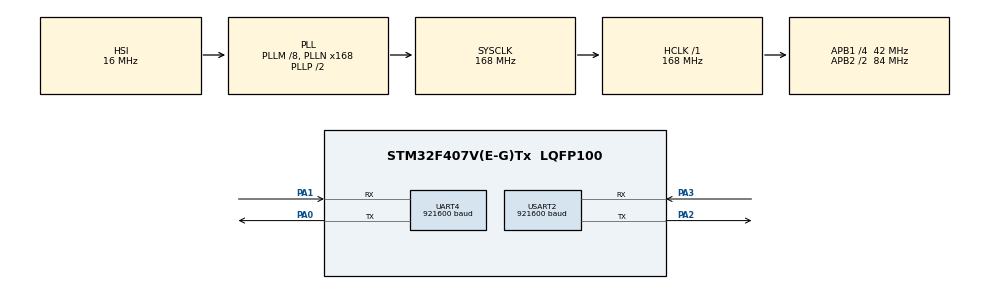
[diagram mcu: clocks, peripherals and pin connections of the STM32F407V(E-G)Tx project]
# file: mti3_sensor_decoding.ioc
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Dma.Request0=USART2_RX
Dma.USART2_RX.0.Direction=DMA_PERIPH_TO_MEMORY
Dma.USART2_RX.0.FIFOMode=DMA_FIFOMODE_DISABLE
Dma.USART2_RX.0.Instance=DMA1_Stream5
Dma.USART2_RX.0.MemDataAlignment=DMA_MDATAALIGN_BYTE
Dma.USART2_RX.0.MemInc=DMA_MINC_ENABLE
Dma.USART2_RX.0.Mode=DMA_CIRCULAR
Dma.USART2_RX.0.PeriphDataAlignment=DMA_PDATAALIGN_BYTE
Dma.USART2_RX.0.PeriphInc=DMA_PINC_DISABLE
Dma.USART2_RX.0.Priority=DMA_PRIORITY_LOW
Mcu.Family=STM32F4
Mcu.Name=STM32F407V(E-G)Tx
Mcu.Package=LQFP100
NVIC.DMA1_Stream5_IRQn=true\:0\:0\:false\:false\:true\:false\:true
NVIC.PriorityGroup=NVIC_PRIORITYGROUP_4
NVIC.TIM6_DAC_IRQn=true\:0\:0\:false\:false\:true\:true\:true
NVIC.TIM7_IRQn=true\:0\:0\:false\:false\:true\:true\:true
NVIC.UART4_IRQn=true\:0\:0\:false\:false\:true\:true\:true
PA0-WKUP.Mode=Asynchronous
PA0-WKUP.Signal=UART4_TX
PA1.Mode=Asynchronous
PA1.Signal=UART4_RX
PA13.Mode=Serial_Wire
PA13.Signal=SYS_JTMS-SWDIO
PA14.Mode=Serial_Wire
PA14.Signal=SYS_JTCK-SWCLK
PA2.Mode=Asynchronous
PA2.Signal=USART2_TX
PA3.Mode=Asynchronous
PA3.Signal=USART2_RX
PH0-OSC_IN.Mode=HSE-External-Oscillator
PH0-OSC_IN.Signal=RCC_OSC_IN
PH1-OSC_OUT.Mode=HSE-External-Oscillator
PH1-OSC_OUT.Signal=RCC_OSC_OUT
ProjectManager.HeapSize=0x200
ProjectManager.StackSize=0x400
ProjectManager.TargetToolchain=TrueSTUDIO
RCC.48MHZClocksFreq_Value=84000000
RCC.AHBFreq_Value=168000000
RCC.APB1CLKDivider=RCC_HCLK_DIV4
RCC.APB1Freq_Value=42000000
RCC.APB1TimFreq_Value=84000000
RCC.APB2CLKDivider=RCC_HCLK_DIV2
RCC.APB2Freq_Value=84000000
RCC.APB2TimFreq_Value=168000000
RCC.CortexFreq_Value=168000000
RCC.HCLKFreq_Value=168000000
RCC.HSE_VALUE=25000000
RCC.HSI_VALUE=16000000
RCC.LSE_VALUE=32768
RCC.PLLM=8
RCC.PLLN=168
RCC.SYSCLKFreq_VALUE=168000000
RCC.SYSCLKSource=RCC_SYSCLKSOURCE_PLLCLK
RCC.VCOOutputFreq_Value=336000000
TIM6.Period=9
TIM6.Prescaler=8399
TIM7.Period=9999
TIM7.Prescaler=8399
UART4.BaudRate=921600
UART4.VirtualMode=Asynchronous
USART2.BaudRate=921600
USART2.VirtualMode=VM_ASYNC
VP_TIM6_VS_ClockSourceINT.Mode=Enable_Timer
VP_TIM7_VS_ClockSourceINT.Mode=Enable_Timer
board=custom

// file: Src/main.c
/* USER CODE BEGIN Header */
/**
  ******************************************************************************
  * @file           : main.c
  * @brief          : Main program body
  ******************************************************************************
  * @attention
  *
  * <h2><center>&copy; Copyright (c) 2019 STMicroelectronics.
  * All rights reserved.</center></h2>
  *
  * This software component is licensed by ST under BSD 3-Clause license,
  * the "License"; You may not use this file except in compliance with the
  * License. You may obtain a copy of the License at:
  *                        opensource.org/licenses/BSD-3-Clause
  *
  ******************************************************************************
  */
/* USER CODE END Header */

#include "main.h"
#include "dma.h"
#include "tim.h"
#include "usart.h"
#include "gpio.h"

/* USER CODE BEGIN Includes */
#include "mti3.h"
#include <stdlib.h>
#include <stdio.h>
/* USER CODE END Includes */

void SystemClock_Config(void);
/* USER CODE BEGIN PFP */
int _write(int fd, char *str, int len)
{
	for(int i=0;i<len;i++)
	{
        //UART 4번에 데이터 전송
		HAL_UART_Transmit(&huart4, (uint8_t *)&str[i], 1, 0xFFFF);
	}
	return len;
}
/* USER CODE END PFP */

int main(void)
{

  /* MCU Configuration--------------------------------------------------------*/

  /* Reset of all peripherals, Initializes the Flash interface and the Systick. */
  HAL_Init();

  /* Configure the system clock */
  SystemClock_Config();

  /* Initialize all configured peripherals */
  MX_GPIO_Init();
  MX_DMA_Init();
  MX_TIM6_Init();
  MX_USART2_UART_Init();
  MX_UART4_Init();
  MX_TIM7_Init();
  /* USER CODE BEGIN 2 */
  HAL_UART_Receive_DMA(&huart2, mti3_dma_buffer, MTI3_DMA_LEN);
  HAL_TIM_Base_Start_IT(&htim6);
  HAL_TIM_Base_Start_IT(&htim7);

  /* USER CODE END 2 */

  /* Infinite loop */
  while (1)
  {

  }
}

void SystemClock_Config(void)
{
  RCC_OscInitTypeDef RCC_OscInitStruct = {0};
  RCC_ClkInitTypeDef RCC_ClkInitStruct = {0};

  /** Configure the main internal regulator output voltage
  */
  __HAL_RCC_PWR_CLK_ENABLE();
  __HAL_PWR_VOLTAGESCALING_CONFIG(PWR_REGULATOR_VOLTAGE_SCALE1);
  /** Initializes the CPU, AHB and APB busses clocks
  */
  RCC_OscInitStruct.OscillatorType = RCC_OSCILLATORTYPE_HSI;
  RCC_OscInitStruct.HSIState = RCC_HSI_ON;
  RCC_OscInitStruct.HSICalibrationValue = RCC_HSICALIBRATION_DEFAULT;
  RCC_OscInitStruct.PLL.PLLState = RCC_PLL_ON;
  RCC_OscInitStruct.PLL.PLLSource = RCC_PLLSOURCE_HSI;
  RCC_OscInitStruct.PLL.PLLM = 8;
  RCC_OscInitStruct.PLL.PLLN = 168;
  RCC_OscInitStruct.PLL.PLLP = RCC_PLLP_DIV2;
  RCC_OscInitStruct.PLL.PLLQ = 4;
  if (HAL_RCC_OscConfig(&RCC_OscInitStruct) != HAL_OK)
  {
    Error_Handler();
  }
  /** Initializes the CPU, AHB and APB busses clocks
  */
  RCC_ClkInitStruct.ClockType = RCC_CLOCKTYPE_HCLK|RCC_CLOCKTYPE_SYSCLK
                              |RCC_CLOCKTYPE_PCLK1|RCC_CLOCKTYPE_PCLK2;
  RCC_ClkInitStruct.SYSCLKSource = RCC_SYSCLKSOURCE_PLLCLK;
  RCC_ClkInitStruct.AHBCLKDivider = RCC_SYSCLK_DIV1;
  RCC_ClkInitStruct.APB1CLKDivider = RCC_HCLK_DIV4;
  RCC_ClkInitStruct.APB2CLKDivider = RCC_HCLK_DIV2;

  if (HAL_RCC_ClockConfig(&RCC_ClkInitStruct, FLASH_LATENCY_5) != HAL_OK)
  {
    Error_Handler();
  }
}

/* USER CODE BEGIN 4 */
void HAL_TIM_PeriodElapsedCallback(TIM_HandleTypeDef *htim)
{
	if(htim -> Instance == TIM6)
	{
		read_mti3();
		if(mti3_decode_flag)
		{

			printf("%f\n\r", mti3.euler[ROLL]);
			printf("%f\n\r", mti3.euler[PITCH]);
			printf("%f\n\r\n\r", mti3.euler[YAW]);

		}
		else
		{

		}
	}
	else if(htim -> Instance == TIM7)
	{

	}
}
/* USER CODE END 4 */

void Error_Handler(void)
{
}

/************************ (C) COPYRIGHT STMicroelectronics *****END OF FILE****/
